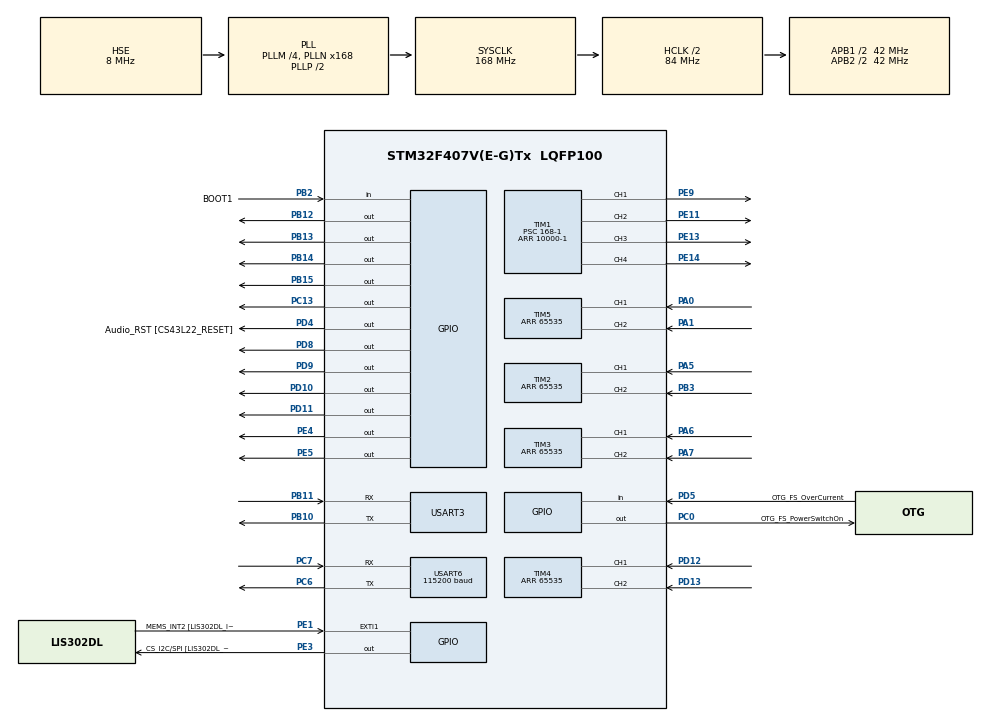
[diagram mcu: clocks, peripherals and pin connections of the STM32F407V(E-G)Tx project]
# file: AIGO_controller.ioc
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Dma.Request0=USART3_RX
Dma.Request1=USART3_TX
Dma.Request2=USART6_RX
Dma.Request3=USART6_TX
Dma.USART3_RX.0.Direction=DMA_PERIPH_TO_MEMORY
Dma.USART3_RX.0.FIFOMode=DMA_FIFOMODE_ENABLE
Dma.USART3_RX.0.FIFOThreshold=DMA_FIFO_THRESHOLD_FULL
Dma.USART3_RX.0.Instance=DMA1_Stream1
Dma.USART3_RX.0.MemBurst=DMA_MBURST_SINGLE
Dma.USART3_RX.0.MemDataAlignment=DMA_MDATAALIGN_BYTE
Dma.USART3_RX.0.MemInc=DMA_MINC_ENABLE
Dma.USART3_RX.0.Mode=DMA_NORMAL
Dma.USART3_RX.0.PeriphBurst=DMA_PBURST_SINGLE
Dma.USART3_RX.0.PeriphDataAlignment=DMA_PDATAALIGN_BYTE
Dma.USART3_RX.0.PeriphInc=DMA_PINC_DISABLE
Dma.USART3_RX.0.Priority=DMA_PRIORITY_VERY_HIGH
Dma.USART3_TX.1.Direction=DMA_MEMORY_TO_PERIPH
Dma.USART3_TX.1.FIFOMode=DMA_FIFOMODE_ENABLE
Dma.USART3_TX.1.FIFOThreshold=DMA_FIFO_THRESHOLD_FULL
Dma.USART3_TX.1.Instance=DMA1_Stream3
Dma.USART3_TX.1.MemBurst=DMA_MBURST_SINGLE
Dma.USART3_TX.1.MemDataAlignment=DMA_MDATAALIGN_BYTE
Dma.USART3_TX.1.MemInc=DMA_MINC_ENABLE
Dma.USART3_TX.1.Mode=DMA_NORMAL
Dma.USART3_TX.1.PeriphBurst=DMA_PBURST_SINGLE
Dma.USART3_TX.1.PeriphDataAlignment=DMA_PDATAALIGN_BYTE
Dma.USART3_TX.1.PeriphInc=DMA_PINC_DISABLE
Dma.USART3_TX.1.Priority=DMA_PRIORITY_VERY_HIGH
Dma.USART6_RX.2.Direction=DMA_PERIPH_TO_MEMORY
Dma.USART6_RX.2.FIFOMode=DMA_FIFOMODE_DISABLE
Dma.USART6_RX.2.Instance=DMA2_Stream1
Dma.USART6_RX.2.MemDataAlignment=DMA_MDATAALIGN_BYTE
Dma.USART6_RX.2.MemInc=DMA_MINC_ENABLE
Dma.USART6_RX.2.Mode=DMA_NORMAL
Dma.USART6_RX.2.PeriphDataAlignment=DMA_PDATAALIGN_BYTE
Dma.USART6_RX.2.PeriphInc=DMA_PINC_DISABLE
Dma.USART6_RX.2.Priority=DMA_PRIORITY_LOW
Dma.USART6_TX.3.Direction=DMA_MEMORY_TO_PERIPH
Dma.USART6_TX.3.FIFOMode=DMA_FIFOMODE_DISABLE
Dma.USART6_TX.3.Instance=DMA2_Stream6
Dma.USART6_TX.3.MemDataAlignment=DMA_MDATAALIGN_BYTE
Dma.USART6_TX.3.MemInc=DMA_MINC_ENABLE
Dma.USART6_TX.3.Mode=DMA_NORMAL
Dma.USART6_TX.3.PeriphDataAlignment=DMA_PDATAALIGN_BYTE
Dma.USART6_TX.3.PeriphInc=DMA_PINC_DISABLE
Dma.USART6_TX.3.Priority=DMA_PRIORITY_LOW
Mcu.Family=STM32F4
Mcu.Name=STM32F407V(E-G)Tx
Mcu.Package=LQFP100
NVIC.DMA1_Stream1_IRQn=true\:0\:0\:false\:false\:true\:false\:true
NVIC.DMA1_Stream3_IRQn=true\:0\:0\:false\:false\:true\:false\:true
NVIC.DMA2_Stream1_IRQn=true\:0\:0\:false\:false\:true\:false\:true
NVIC.DMA2_Stream6_IRQn=true\:0\:0\:false\:false\:true\:false\:true
NVIC.PriorityGroup=NVIC_PRIORITYGROUP_0
NVIC.TIM6_DAC_IRQn=true\:0\:0\:false\:false\:true\:true\:true
NVIC.USART3_IRQn=true\:0\:0\:false\:false\:true\:true\:true
NVIC.USART6_IRQn=true\:0\:0\:false\:false\:true\:true\:true
PA0-WKUP.Signal=S_TIM5_CH1
PA1.Signal=S_TIM5_CH2
PA13.Mode=Serial_Wire
PA13.Signal=SYS_JTMS-SWDIO
PA14.Mode=Serial_Wire
PA14.Signal=SYS_JTCK-SWCLK
PA5.Signal=S_TIM2_CH1_ETR
PA6.GPIO_PuPd=GPIO_NOPULL
PA6.Signal=S_TIM3_CH1
PA7.GPIO_PuPd=GPIO_NOPULL
PA7.Signal=S_TIM3_CH2
PB10.Mode=Asynchronous
PB10.Signal=USART3_TX
PB11.Mode=Asynchronous
PB11.Signal=USART3_RX
PB12.Signal=GPIO_Output
PB13.Signal=GPIO_Output
PB14.Signal=GPIO_Output
PB15.Signal=GPIO_Output
PB2.GPIO_Label=BOOT1
PB2.GPIO_Mode=GPIO_MODE_INPUT
PB2.GPIO_PuPd=GPIO_NOPULL
PB2.Signal=GPIO_Input
PB3.Signal=S_TIM2_CH2
PC0.GPIO_Label=OTG_FS_PowerSwitchOn
PC0.GPIO_PuPd=GPIO_NOPULL
PC0.GPIO_Speed=GPIO_SPEED_FREQ_LOW
PC0.PinState=GPIO_PIN_SET
PC0.Signal=GPIO_Output
PC13-ANTI_TAMP.Signal=GPIO_Output
PC14-OSC32_IN.Mode=LSE-External-Oscillator
PC14-OSC32_IN.Signal=RCC_OSC32_IN
PC15-OSC32_OUT.Mode=LSE-External-Oscillator
PC15-OSC32_OUT.Signal=RCC_OSC32_OUT
PC6.Mode=Asynchronous
PC6.Signal=USART6_TX
PC7.Mode=Asynchronous
PC7.Signal=USART6_RX
PD10.Signal=GPIO_Output
PD11.Signal=GPIO_Output
PD12.GPIO_PuPd=GPIO_NOPULL
PD12.Signal=S_TIM4_CH1
PD13.GPIO_PuPd=GPIO_NOPULL
PD13.Signal=S_TIM4_CH2
PD4.GPIO_Label=Audio_RST [CS43L22_RESET]
PD4.GPIO_PuPd=GPIO_NOPULL
PD4.GPIO_Speed=GPIO_SPEED_FREQ_LOW
PD4.Signal=GPIO_Output
PD5.GPIO_Label=OTG_FS_OverCurrent
PD5.GPIO_Mode=GPIO_MODE_INPUT
PD5.GPIO_PuPd=GPIO_NOPULL
PD5.Signal=GPIO_Input
PD8.Signal=GPIO_Output
PD9.Signal=GPIO_Output
PE1.GPIO_Label=MEMS_INT2 [LIS302DL_INT2]
PE1.GPIO_ModeDefaultEXTI=GPIO_MODE_EVT_RISING
PE1.GPIO_PuPd=GPIO_NOPULL
PE1.Signal=GPXTI1
PE11.Signal=S_TIM1_CH2
PE13.Signal=S_TIM1_CH3
PE14.Signal=S_TIM1_CH4
PE3.GPIO_Label=CS_I2C/SPI [LIS302DL_CS_I2C/SPI]
PE3.GPIO_PuPd=GPIO_NOPULL
PE3.GPIO_Speed=GPIO_SPEED_FREQ_LOW
PE3.Signal=GPIO_Output
PE4.Signal=GPIO_Output
PE5.Signal=GPIO_Output
PE9.Signal=S_TIM1_CH1
PH0-OSC_IN.Mode=HSE-External-Oscillator
PH0-OSC_IN.Signal=RCC_OSC_IN
PH1-OSC_OUT.Mode=HSE-External-Oscillator
PH1-OSC_OUT.Signal=RCC_OSC_OUT
ProjectManager.HeapSize=0x200
ProjectManager.StackSize=0x400
ProjectManager.TargetToolchain=STM32CubeIDE
RCC.48MHZClocksFreq_Value=112000000
RCC.AHBCLKDivider=RCC_SYSCLK_DIV2
RCC.AHBFreq_Value=84000000
RCC.APB1CLKDivider=RCC_HCLK_DIV2
RCC.APB1Freq_Value=42000000
RCC.APB1TimFreq_Value=84000000
RCC.APB2CLKDivider=RCC_HCLK_DIV2
RCC.APB2Freq_Value=42000000
RCC.APB2TimFreq_Value=84000000
RCC.CortexFreq_Value=84000000
RCC.HCLKFreq_Value=84000000
RCC.HSE_VALUE=8000000
RCC.HSI_VALUE=16000000
RCC.PLLM=4
RCC.PLLN=168
RCC.PLLQ=3
RCC.PLLSourceVirtual=RCC_PLLSOURCE_HSE
RCC.SYSCLKFreq_VALUE=168000000
RCC.SYSCLKSource=RCC_SYSCLKSOURCE_PLLCLK
RCC.VCOOutputFreq_Value=336000000
SH.S_TIM1_CH1.0=TIM1_CH1,PWM Generation1 CH1
SH.S_TIM1_CH2.0=TIM1_CH2,PWM Generation2 CH2
SH.S_TIM1_CH3.0=TIM1_CH3,PWM Generation3 CH3
SH.S_TIM1_CH4.0=TIM1_CH4,PWM Generation4 CH4
SH.S_TIM2_CH1_ETR.0=TIM2_CH1,Encoder_Interface
SH.S_TIM2_CH2.0=TIM2_CH2,Encoder_Interface
SH.S_TIM3_CH1.0=TIM3_CH1,Encoder_Interface
SH.S_TIM3_CH2.0=TIM3_CH2,Encoder_Interface
SH.S_TIM4_CH1.0=TIM4_CH1,Encoder_Interface
SH.S_TIM4_CH2.0=TIM4_CH2,Encoder_Interface
SH.S_TIM5_CH1.0=TIM5_CH1,Encoder_Interface
SH.S_TIM5_CH2.0=TIM5_CH2,Encoder_Interface
TIM1.Channel-PWM\ Generation1\ CH1=TIM_CHANNEL_1
TIM1.Channel-PWM\ Generation2\ CH2=TIM_CHANNEL_2
TIM1.Channel-PWM\ Generation3\ CH3=TIM_CHANNEL_3
TIM1.Channel-PWM\ Generation4\ CH4=TIM_CHANNEL_4
TIM1.Period=10000-1
TIM1.Prescaler=168-1
TIM2.AutoReloadPreload=TIM_AUTORELOAD_PRELOAD_ENABLE
TIM2.EncoderMode=TIM_ENCODERMODE_TI12
TIM2.IC1Filter=10
TIM2.IC2Filter=10
TIM2.Period=65535
TIM3.AutoReloadPreload=TIM_AUTORELOAD_PRELOAD_ENABLE
TIM3.EncoderMode=TIM_ENCODERMODE_TI12
TIM3.IC1Filter=10
TIM3.IC2Filter=10
TIM3.Period=65535
TIM4.AutoReloadPreload=TIM_AUTORELOAD_PRELOAD_ENABLE
TIM4.EncoderMode=TIM_ENCODERMODE_TI12
TIM4.IC1Filter=10
TIM4.IC2Filter=10
TIM4.Period=65535
TIM5.AutoReloadPreload=TIM_AUTORELOAD_PRELOAD_ENABLE
TIM5.IC1Filter=10
TIM5.IC2Filter=10
TIM5.Period=65535
TIM6.Period=199
TIM6.Prescaler=41999
USART3.VirtualMode=VM_ASYNC
USART6.BaudRate=115200
USART6.OverSampling=UART_OVERSAMPLING_16
USART6.VirtualMode=VM_ASYNC
USART6.WordLength=WORDLENGTH_8B
VP_TIM1_VS_ClockSourceINT.Mode=Internal
VP_TIM6_VS_ClockSourceINT.Mode=Enable_Timer
board=STM32F407G-DISC1

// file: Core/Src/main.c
/* USER CODE BEGIN Header */
/**
  ******************************************************************************
  * @file           : main.c
  * @brief          : Main program body
  ******************************************************************************
  * @attention
  *
  * <h2><center>&copy; Copyright (c) 2021 STMicroelectronics.
  * All rights reserved.</center></h2>
  *
  * This software component is licensed by ST under BSD 3-Clause license,
  * the "License"; You may not use this file except in compliance with the
  * License. You may obtain a copy of the License at:
  *                        opensource.org/licenses/BSD-3-Clause
  *
  ******************************************************************************
  */
/* USER CODE END Header */
#include "main.h"
#include "dma.h"
#include "tim.h"
#include "usart.h"
#include "gpio.h"

/* USER CODE BEGIN Includes */
#include "stdbool.h"
#include "string.h"
#include "math.h"
#include <stdio.h>
#include <stdbool.h>
#include <stdlib.h>
/* USER CODE END Includes */

/* USER CODE BEGIN PD */
#define DMA_BUF_SIZE 64
#define DMA_TIMEOUT_MS 10
#define RX_BFR_SIZE 64
#define TX_BFR_SIZE 64
/* USER CODE END PD */

/* USER CODE BEGIN PV */
char rx_data[] = {0};

uint8_t RxRollover = 0;
uint8_t RxCounter = 0;
uint16_t RxBfrPos = 0;
uint8_t TxCounter = 0;
char TxBuffer[TX_BFR_SIZE];
uint8_t RxBuffer[RX_BFR_SIZE];

uint32_t last = 0;
char data[1024] = {0};
uint8_t len = 0;

int16_t imu[6] = {0}; //AcX, AcY, AcZ, GyX, GyY, GyZ

uint8_t dma_rx_buf[DMA_BUF_SIZE];       /* Circular buffer for DMA */
uint8_t recv_data[DMA_BUF_SIZE] = {'\0'};    /* Data buffer that contains newly received data */

/***********lidar************/
//Response data
bool scan_start = false;
uint8_t rx3_start[7] = {0};
uint8_t rx3_data[5] = {0};
uint8_t Q = 0;
bool S = false;
uint16_t angle;
uint16_t d;
uint16_t distance[360] = {0};
bool lidar_ok = false;

//Protocol
uint8_t scan_command[2] = {0xA5,0x20};
uint8_t stop_command[2] = {0xA5,0x25};
uint8_t soft_reboot[2] = {0xA5,0x40};
uint8_t scan_express[2] = {0xA5,0x82};
uint8_t scan_force[2] = {0xA5,0x21};
uint8_t device_info[2] = {0xA5,0x50};
uint8_t health_status[2] = {0xA5,0x52};
uint8_t sample_rate[2] = {0xA5,0x59};
uint8_t scan_response[7] = {0xa5, 0x5a, 0x5, 0x0, 0x0, 0x40, 0x81};

//Encoder Count per Duration(0.1 second)
uint16_t CntL = 0;
uint16_t CntR = 0;

//Desired Encoder Rate for PID control (Received From Raspberry Pi) : Left, Right
int32_t RecL = 0;
int32_t RecR = 0;

//Values for PID control
int32_t desired_speed_L = 0;
int32_t desired_speed_R = 0;
int32_t encoder_speed_L = 0;
int32_t encoder_speed_R = 0;
int32_t MOTOR_PWM[4] = {0};
uint32_t Kp = 1;
uint32_t encoder_cnt[4] = {0};
int32_t error_speed[4] = {0};
int32_t PID_speed[4] = {0, 0, 0, 0};
int32_t old_PID_speed[4] = {0, 0, 0, 0};
uint8_t cnt = 0;
int32_t motor_speed = 3000;
int32_t avg_DIFF = 0;
/* USER CODE END PV */

void SystemClock_Config(void);
/* USER CODE BEGIN PFP */
void Initialize_Encoder_Count();
void Receive_Encoder_Count();
void Receive_Lidar();
//void Receive_Imu();
void Receive_Serial(char *recv);
void Transmit_Data();
void Set_Motor_PID();
int32_t Calculate_Value(int32_t);
void Set_Motor_PWM();

bool array_element_of_index_equal(uint8_t a[], uint8_t b[], uint8_t size) {
   uint8_t i;
   for(i=0; i<size; i++){
      if( a[i] != b[i] )
         return false;
   }
   return true;
}
int32_t array_avg_compare(uint16_t distance[]){

   uint32_t sum_R = 0;
   uint32_t sum_L = 0;
   uint8_t len_L = 0;
   uint8_t len_R = 0;
   int32_t avg_R = 0;
   int32_t avg_L = 0;
   int32_t avg_diff = 0;

   for(int i=0; i<90; i++){
      sum_R += distance[i];
      if(distance[i]!=0){
         len_R++;
      }
   }
   if(len_R == 0) return 0;
   avg_R = sum_R/len_R;

   for(int i=270; i<360; i++){
      sum_L += distance[i];
      if(distance[i]!=0){
         len_L++;
      }
   }
   if(len_L == 0) return 0;
   avg_L = sum_L/len_L;

   avg_diff = avg_R - avg_L;
   if(avg_diff > 300 || avg_diff < -300){
	   return avg_diff;
   }
   else
	   return 0;
}

void HAL_UART_RxCpltCallback(UART_HandleTypeDef *huart);

/* USER CODE END PFP */

int main(void)
{

  /* MCU Configuration--------------------------------------------------------*/

  /* Reset of all peripherals, Initializes the Flash interface and the Systick. */

	HAL_Init();

  /* Configure the system clock */
  SystemClock_Config();

  /* USER CODE BEGIN SysInit */
  MX_DMA_Init();
  /* USER CODE END SysInit */

  /* Initialize all configured peripherals */
  MX_GPIO_Init();
  MX_TIM1_Init();
  MX_TIM2_Init();
  MX_TIM3_Init();
  MX_TIM4_Init();
  MX_TIM5_Init();
  MX_TIM6_Init();
  MX_USART6_UART_Init();
  MX_DMA_Init();
  MX_USART3_UART_Init();
  /* USER CODE BEGIN 2 */
  //while (MPU6050_Init(&hi2c1) ==1);
  //__HAL_UART_ENABLE_IT(&huart6, UART_IT_IDLE);
  //HAL_UART_Receive_DMA(&huart6, RxBuffer, DMA_BUF_SIZE);
  HAL_TIM_PWM_Start(&htim1, TIM_CHANNEL_1);
  HAL_TIM_PWM_Start(&htim1, TIM_CHANNEL_2);
  HAL_TIM_PWM_Start(&htim1, TIM_CHANNEL_3);
  HAL_TIM_PWM_Start(&htim1, TIM_CHANNEL_4);
  HAL_TIM_Base_Start_IT(&htim6);
  HAL_Delay(1000);
  Initialize_Encoder_Count();
  HAL_TIM_Encoder_Start(&htim2, TIM_CHANNEL_ALL);
  HAL_TIM_Encoder_Start(&htim3, TIM_CHANNEL_ALL);
  HAL_TIM_Encoder_Start(&htim4, TIM_CHANNEL_ALL);
  HAL_TIM_Encoder_Start(&htim5, TIM_CHANNEL_ALL);
  HAL_UART_Transmit(&huart3, scan_command, 2, 100);
  //Initialize for motor PWM

  //12,13 : LF | 14,15 : RF | 8,9 : LB | 9,10 : RB
  //write pin SET at lower pin to go forward
  //initialize all wheels directions forward
  HAL_GPIO_WritePin(GPIOB, GPIO_PIN_12, SET);
  HAL_GPIO_WritePin(GPIOB, GPIO_PIN_13, RESET);

  HAL_GPIO_WritePin(GPIOB, GPIO_PIN_14, SET);
  HAL_GPIO_WritePin(GPIOB, GPIO_PIN_15, RESET);

  HAL_GPIO_WritePin(GPIOD, GPIO_PIN_8, SET);
  HAL_GPIO_WritePin(GPIOD, GPIO_PIN_9, RESET);

  HAL_GPIO_WritePin(GPIOD, GPIO_PIN_10, SET);
  HAL_GPIO_WritePin(GPIOD, GPIO_PIN_11, RESET);
  cnt = 0;
	 TIM1->CCR1 = 0;
	 TIM1->CCR2 = 0;
	 TIM1->CCR3 = 0;
	 TIM1->CCR4 = 0;
  /* USER CODE END 2 */

  /* Infinite loop */
  /* USER CODE BEGIN WHILE */
  while (1)
  {
	  //for (uint8_t i = 0; i <64; i++){
	//	  recv_data[i] = 0;
	  //}
	  Receive_Lidar();
	  //Receive_Imu();
	  //HAL_Delay(10);
	  //uint8_t byte = 0;
	  if(HAL_GetTick()-last > 100L){
		  Receive_Encoder_Count();
		  Transmit_Data();
		  Initialize_Encoder_Count();
		  last = HAL_GetTick();

	  }

    /* USER CODE END WHILE */

  }
}

void SystemClock_Config(void)
{
  RCC_OscInitTypeDef RCC_OscInitStruct = {0};
  RCC_ClkInitTypeDef RCC_ClkInitStruct = {0};

  /** Configure the main internal regulator output voltage
  */
  __HAL_RCC_PWR_CLK_ENABLE();
  __HAL_PWR_VOLTAGESCALING_CONFIG(PWR_REGULATOR_VOLTAGE_SCALE1);
  /** Initializes the RCC Oscillators according to the specified parameters
  * in the RCC_OscInitTypeDef structure.
  */
  RCC_OscInitStruct.OscillatorType = RCC_OSCILLATORTYPE_HSE;
  RCC_OscInitStruct.HSEState = RCC_HSE_ON;
  RCC_OscInitStruct.PLL.PLLState = RCC_PLL_ON;
  RCC_OscInitStruct.PLL.PLLSource = RCC_PLLSOURCE_HSE;
  RCC_OscInitStruct.PLL.PLLM = 4;
  RCC_OscInitStruct.PLL.PLLN = 168;
  RCC_OscInitStruct.PLL.PLLP = RCC_PLLP_DIV2;
  RCC_OscInitStruct.PLL.PLLQ = 3;
  if (HAL_RCC_OscConfig(&RCC_OscInitStruct) != HAL_OK)
  {
    Error_Handler();
  }
  /** Initializes the CPU, AHB and APB buses clocks
  */
  RCC_ClkInitStruct.ClockType = RCC_CLOCKTYPE_HCLK|RCC_CLOCKTYPE_SYSCLK
                              |RCC_CLOCKTYPE_PCLK1|RCC_CLOCKTYPE_PCLK2;
  RCC_ClkInitStruct.SYSCLKSource = RCC_SYSCLKSOURCE_PLLCLK;
  RCC_ClkInitStruct.AHBCLKDivider = RCC_SYSCLK_DIV2;
  RCC_ClkInitStruct.APB1CLKDivider = RCC_HCLK_DIV2;
  RCC_ClkInitStruct.APB2CLKDivider = RCC_HCLK_DIV2;

  if (HAL_RCC_ClockConfig(&RCC_ClkInitStruct, FLASH_LATENCY_2) != HAL_OK)
  {
    Error_Handler();
  }
}

/* USER CODE BEGIN 4 */
void Initialize_Encoder_Count(){
	TIM2 -> CNT = 0;
	TIM3 -> CNT = 0;
	TIM4 -> CNT = 0;
	TIM5 -> CNT = 0;
}
void Receive_Encoder_Count(){
	//TIM2 : LF, TIM3 : RF, TIM4 : RB, TIM5 : LB
	  //CntR = (TIM3 -> CNT >> 3) + (TIM4 -> CNT >> 3);
	  //CntL = (TIM2 -> CNT >> 3) + (TIM5 -> CNT >> 3);
		CntR = TIM4 -> CNT >> 2;
		CntL = TIM5 -> CNT >> 2;
	  //sprintf(data, "e%u,%u\n\r", CntL, CntR);
}
/**
void Receive_Imu(){
	MPU6050_Read_All(&hi2c1, &MPU6050);
	imu[1] = MPU6050.Accel_X_RAW;
	imu[2]= MPU6050.Accel_Y_RAW;
	imu[3] = MPU6050.Accel_Z_RAW;
	//int16_t Tmp = MPU6050.Temperature;
	imu[4] = MPU6050.Gyro_X_RAW;
	imu[5] = MPU6050.Gyro_Y_RAW;
	imu[6] = MPU6050.Gyro_Z_RAW;

}
**/

void Receive_Lidar(){
	if(scan_start){
		HAL_UART_Receive_DMA(&huart3, rx3_data, 5);
		Q = rx3_data[0]>>2;
		 S = (rx3_data[0] & 0x01) ? 1 : 0;
		 angle = (rx3_data[2]<<7 | rx3_data[1]>>1)/64;
		 d = (rx3_data[4]<<8 | rx3_data[3])/4; //distance(mm);
		 if(d >= 10000){
			distance[angle] = 10000;
		 }
		 else{
			distance[angle] = d;
		 }
		 if(S == 1){
			avg_DIFF = array_avg_compare(distance);
			avg_DIFF*=15;
			//printf("%d\r\n", avg_DIFF);
			//avg > 0 when left side get closer
			if(avg_DIFF > 0){
				PID_speed[0] = motor_speed*3;
				PID_speed[1] = motor_speed*(-3);
				PID_speed[2] = motor_speed*(-3);
				PID_speed[3] = motor_speed*3;
			}
			if (avg_DIFF == 0) {
				PID_speed[0] = motor_speed;
				PID_speed[1] = motor_speed;
				PID_speed[2] = motor_speed;
				PID_speed[3] = motor_speed;
			}
			if (avg_DIFF < 0) {
				PID_speed[0] = motor_speed*(-3);
				PID_speed[1] = motor_speed*3;
				PID_speed[2] = motor_speed*3;
				PID_speed[3] = motor_speed*(-3);
			}
//
//			PID_speed[0] = motor_speed + avg_DIFF;
//			PID_speed[1] = motor_speed - avg_DIFF;
//			PID_speed[2] = motor_speed - avg_DIFF;
//			PID_speed[3] = motor_speed + avg_DIFF;
//			if(PID_speed[0] < 0){
//				PID_speed[0] = 0;
//			}
//			if(PID_speed[1] < 0){
//							PID_speed[1] = 0;
//						}
//			if(PID_speed[2] < 0){
//							PID_speed[2] = 0;
//						}
//			if(PID_speed[3] < 0){
//							PID_speed[3] = 0;
//						}
			//memset(distance, 0, 360);
			 TIM1->CCR1 = 0;
		     TIM1->CCR2 = 0;
			 TIM1->CCR3 = 0;
			 TIM1->CCR4 = 0;
					Set_Motor_PWM();
		 }

	  }
	else{
	//HAL_UART_Transmit_DMA(&huart3, scan_command, 2);
	HAL_UART_Receive(&huart3, rx3_start, 7, 100);
		 if (array_element_of_index_equal(rx3_start, scan_response, 7)){
			scan_start = true;
		 }
	}
}

void Transmit_Data(){
	//IMU
	/**
	sprintf(data,"i%d,%d,%d,%d,%d,%d\n\r", imu[1], imu[2], imu[3], imu[4], imu[5], imu[6]);
	HAL_UART_Transmit_DMA(&huart6, (uint8_t*)data, strlen(data));
	**/
	/**
	//LiDAR
	sprintf(data, "l");
	HAL_UART_Transmit_DMA(&huart6, (uint8_t*)data, strlen(data));
	uint16_t i = 0;
	while(i<359){
		sprintf(data, "%d,", distance[i]);
		i++;
		HAL_UART_Transmit_DMA(&huart6, (uint8_t*)data, strlen(data));
	}
	sprintf(data, "%d\n\r", distance[359]);
	HAL_UART_Transmit_DMA(&huart6, (uint8_t*)data, strlen(data));
	**/
	//Encoder
	sprintf(data, "e%u,%u\n\r", CntL, CntR);
	HAL_UART_Transmit(&huart6, (uint8_t*)data, strlen(data), 100);
}

void Receive_Serial(char *recv){
	//Receive two integer data (Desired Encoder Rate for two wheels) from serial (Raspberry Pi)
	//split string data, then convert to integer
	char *p = strtok(recv, ",");
	char *array[2] = {0};
	array[0] = p;
	p = strtok(NULL, "/");
	array[1] = p;
	RecL = atoi(array[0]);
	RecR = atoi(array[1]);
}

//named PID, but the example code implemented only P control i think T.T
void Set_Motor_PID(){
	//0 : LF | 1 : RF | 2 : RB | 3 : LB
	//Determine Desired motor PWM value
	desired_speed_L = Calculate_Value(RecL);
	desired_speed_R = Calculate_Value(RecR);
    if (CntL > 8191)
       CntL -= 16383;
    if (CntR > 8191)
       CntR -= 16383;
	//Determine Current motor PWM value
	//encoder_speed_L = Calculate_Value(CntL);
	//encoder_speed_R = Calculate_Value(CntR);

	//Do P Control, NOT pid control

	error_speed[0] = desired_speed_L - encoder_speed_L;
	error_speed[1] = desired_speed_R - encoder_speed_R;
	error_speed[2] = desired_speed_R - encoder_speed_R;
	error_speed[3] = desired_speed_L - encoder_speed_L;

	PID_speed[0] = Kp*error_speed[0];
	PID_speed[1] = Kp*error_speed[1];
	PID_speed[2] = Kp*error_speed[2];
	PID_speed[3] = Kp*error_speed[3];

	old_PID_speed[0] = PID_speed[0];
	old_PID_speed[1] = PID_speed[1];
	old_PID_speed[2] = PID_speed[2];
	old_PID_speed[3] = PID_speed[3];

	//now, let's control motor PWM
}
void Set_Motor_PWM(){
	//mind the order LF, RF, LB, RB
	//Set motor rotation direction first
	//LF

	if (PID_speed[0] > 0 || PID_speed[0] == 0){
		HAL_GPIO_WritePin(GPIOB, GPIO_PIN_12, SET);
		HAL_GPIO_WritePin(GPIOB, GPIO_PIN_13, RESET);
	}
	else if(PID_speed[0] < 0){
		HAL_GPIO_WritePin(GPIOB, GPIO_PIN_12, RESET);
		HAL_GPIO_WritePin(GPIOB, GPIO_PIN_13, SET);
		PID_speed[0] *= -1;
	}

	//RF
	if (PID_speed[1] > 0 || PID_speed[1] == 0){
		HAL_GPIO_WritePin(GPIOB, GPIO_PIN_14, SET);
		HAL_GPIO_WritePin(GPIOB, GPIO_PIN_15, RESET);
	}
	else if(PID_speed[1] < 0){
		HAL_GPIO_WritePin(GPIOB, GPIO_PIN_14, RESET);
		HAL_GPIO_WritePin(GPIOB, GPIO_PIN_15, SET);
		PID_speed[1] *= -1;
	}

	//RB
	if (PID_speed[2] > 0 || PID_speed[2] == 0){
		HAL_GPIO_WritePin(GPIOD, GPIO_PIN_8, SET);
		HAL_GPIO_WritePin(GPIOD, GPIO_PIN_9, RESET);
	}
	else if(PID_speed[2] < 0){
		HAL_GPIO_WritePin(GPIOD, GPIO_PIN_8, RESET);
		HAL_GPIO_WritePin(GPIOD, GPIO_PIN_9, SET);
		PID_speed[2] *= -1;
	}

	//LB
	if (PID_speed[3] > 0 || PID_speed[3] == 0){
		HAL_GPIO_WritePin(GPIOD, GPIO_PIN_10, SET);
		HAL_GPIO_WritePin(GPIOD, GPIO_PIN_11, RESET);
	}
	else if(PID_speed[3] < 0){
		HAL_GPIO_WritePin(GPIOB, GPIO_PIN_10, RESET);
		HAL_GPIO_WritePin(GPIOB, GPIO_PIN_11, SET);
		PID_speed[3] *= -1;
	}
	//For Safety, PID_speed won't go beyond 2,000
	uint8_t i = 0;
	while (i < 4){
		if (PID_speed[i]> 10000){
			PID_speed[i] = 10000;
		}

		i++;
	}
	//Set PWM value
	 TIM1->CCR1 = PID_speed[0];
	 TIM1->CCR2 = PID_speed[1];
	 TIM1->CCR3 = PID_speed[2];
	 TIM1->CCR4 = PID_speed[3];
}
int32_t Calculate_Value(int32_t val){
	if(val > 0)
		return 10*val;
	else if(val < 0)
		return 10*val;
	else
		return 0;
}

//void HAL_UART_RxCpltCallback(UART_HandleTypeDef *huart)
//{
//	// UART Rx Complete Callback;
//	// Rx Complete is called by: DMA (automatically), if it rolls over
//	// and when an IDLE Interrupt occurs
//	// DMA Interrupt allays occurs BEFORE the idle interrupt can be fired because
//	// idle detection needs at least one UART clock to detect the bus is idle. So
//	// in the case, that the transmission length is one full buffer length
//	// and the start buffer pointer is at 0, it will be also 0 at the end of the
//	// transmission. In this case the DMA rollover will increment the RxRollover
//	// variable first and len will not be zero.
//	if(__HAL_UART_GET_FLAG(huart, UART_FLAG_IDLE)) {									// Check if it is an "Idle Interrupt"
//		__HAL_UART_CLEAR_IDLEFLAG(&huart6);												// clear the interrupt
//		RxCounter++;																	// increment the Rx Counter
//
//		uint8_t TxSize = 0;
//		uint16_t start = RxBfrPos;														// Rx bytes start position (=last buffer position)
//		RxBfrPos = RX_BFR_SIZE - (uint16_t)huart->hdmarx->Instance->NDTR;				// determine actual buffer position
//		uint16_t len = RX_BFR_SIZE;														// init len with max. size
//
//		if(RxRollover < 2)  {
//			if(RxRollover) {															// rolled over once
//				if(RxBfrPos <= start) len = RxBfrPos + RX_BFR_SIZE - start;				// no bytes overwritten
//				else len = RX_BFR_SIZE + 1;												// bytes overwritten error
//			} else {
//				len = RxBfrPos - start;													// no bytes overwritten
//			}
//		} else {
//			len = RX_BFR_SIZE + 2;														// dual rollover error
//		}
//
//		if(len && (len <= RX_BFR_SIZE)) {
//			// create response message
//			//sprintf(TxBuffer, "ACK RxC:%d S:%d L:%d RO:%d RXp:%d >>", RxCounter, start, len, RxRollover, RxBfrPos);
//			//TxSize = strlen(TxBuffer);
//			// add received bytes to TxBuffer
//			uint8_t i;
//			for(i = 0; i < len; i++) *(TxBuffer + TxSize + i) = *(RxBuffer + ((start + i) % RX_BFR_SIZE));
//			TxSize += i;
//		} else {
//			// buffer overflow error:
//			//sprintf(TxBuffer, "NAK RX BUFFER OVERFLOW ERROR %d\r\n", (len - RX_BFR_SIZE));
//			TxSize = strlen(TxBuffer);
//		}
//      Receive_Serial(TxBuffer);
//	  Set_Motor_PID();
//	  Set_Motor_PWM();
//}
//}
/* USER CODE END 4 */

void Error_Handler(void)
{
  __disable_irq();
  while (1)
  {
  }
}

/************************ (C) COPYRIGHT STMicroelectronics *****END OF FILE****/
